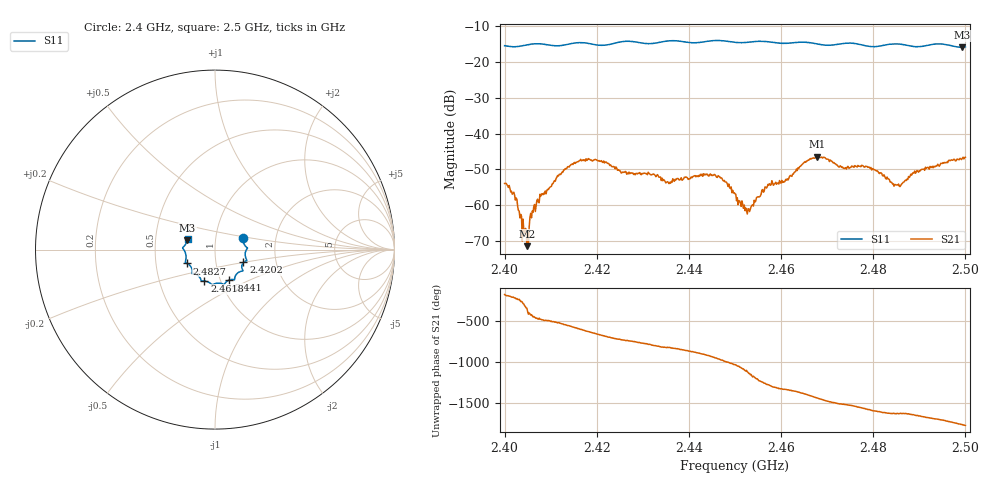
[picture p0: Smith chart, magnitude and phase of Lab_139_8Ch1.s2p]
# Hz S RI R 50
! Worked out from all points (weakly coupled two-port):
!   601 points, 2.4 GHz to 2.5 GHz, reference 50 ohm
!   highest |S21| = -46.48 dB at 2.4678 GHz (marker M1); lowest = -71.5 dB at 2.4048 GHz (marker M2)
!   lowest |S11| = -15.8 dB at 2.4993 GHz (marker M3), VSWR 1.39, Z = 36.5 + j3.84 ohm
!   |S11| at or under -10 dB: start of sweep to end of sweep
!   S12 and S22 are empty: the file has one direction only
!   S11 on the Smith chart (normalised r, x): 2.4 GHz: 1.36, +0.18; 2.4202 GHz: 1.36, -0.20; 2.441 GHz: 1.10, -0.39; 2.4618 GHz: 0.84, -0.30; 2.4827 GHz: 0.72, -0.11; 2.5 GHz: 0.73, +0.09
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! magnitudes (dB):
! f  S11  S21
! 2.4 GHz  -15.4  -53.9
! 2.4023 GHz  -15.7  -58.6
! 2.4048 GHz  -15.2  -71.5
! 2.406 GHz  -14.9  -61.6
! 2.4075 GHz  -14.8  -59.3
! 2.4167 GHz  -14.5  -47.6
! 2.4202 GHz  -15.2  -47.6
! 2.4333 GHz  -14.5  -51.8
! 2.441 GHz  -14.6  -51.9
! 2.4467 GHz  -13.9  -52.0
! 2.45 GHz  -14.5  -56.8
! 2.453 GHz  -14.4  -61.1
! 2.457 GHz  -14.3  -54.9
! 2.4618 GHz  -14.7  -51.9
! 2.4667 GHz  -14.6  -46.9
! 2.4678 GHz  -14.9  -46.5
! 2.4827 GHz  -15.2  -52.5
! 2.4833 GHz  -15.0  -52.7
! 2.4857 GHz  -14.9  -54.7
! 2.489 GHz  -15.6  -50.5
! 2.4993 GHz  -15.8  -46.9
! 2.5 GHz  -15.7  -46.6
